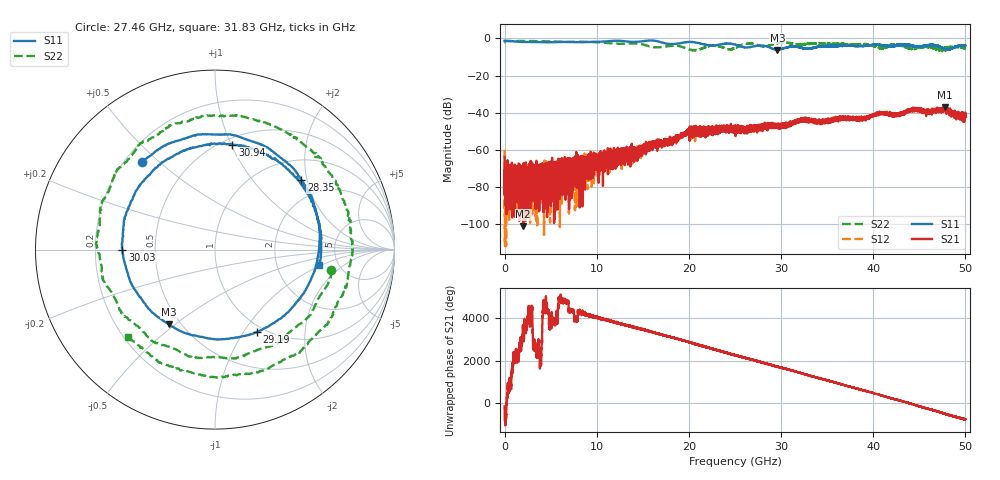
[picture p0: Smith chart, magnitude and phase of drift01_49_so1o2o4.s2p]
!Created with skrf (http://scikit-rf.org).
# Hz S RI R 50.0
!freq ReS11 ImS11 ReS21 ImS21 ReS12 ImS12 ReS22 ImS22
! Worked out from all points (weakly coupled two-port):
!   10001 points, 300 kHz to 50 GHz, reference 50 ohm
!   highest |S21| = -36.82 dB at 47.81 GHz (marker M1); lowest = -101.1 dB at 2.025 GHz (marker M2)
!   lowest |S11| = -6.2 dB at 29.61 GHz (marker M3), VSWR 2.91, Z = 21.7 - j23.7 ohm
!   |S11| at or under -10 dB: nowhere
!   |S22| runs from -7.0 to -1.4 dB; largest |S21 - S12| = 0.0045
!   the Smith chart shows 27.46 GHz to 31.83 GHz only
!   S11 on the Smith chart (normalised r, x): 27.46 GHz: 0.27, +0.44; 28.35 GHz: 1.47, +1.85; 29.19 GHz: 0.92, -1.15; 30.03 GHz: 0.32, -0.00; 30.94 GHz: 0.56, +1.01; 31.83 GHz: 3.58, -0.95
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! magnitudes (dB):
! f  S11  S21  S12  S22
! 300 kHz  -1.3  -63.7  -59.9  -2.1
! 255.3 MHz  -1.4  -75.9  -95.1  -1.4
! 2.025 GHz  -1.9  -101.1  -75.9  -1.4
! 4.96 GHz  -2.1  -79.8  -69.0  -1.6
! 8.335 GHz  -2.0  -64.3  -70.5  -1.8
! 16.67 GHz  -1.7  -56.3  -56.0  -4.8
! 20.95 GHz  -2.5  -49.6  -50.9  -6.2
! 22.6 GHz  -3.9  -48.2  -49.1  -3.8
! 25 GHz  -3.3  -48.1  -49.3  -5.1
! 27.46 GHz  -3.9  -47.6  -48.2  -3.6
! 28.35 GHz  -4.2  -45.9  -47.7  -4.2
! 29.19 GHz  -5.8  -46.6  -46.6  -3.1
! 29.61 GHz  -6.2  -46.6  -46.5  -2.5
! 30.03 GHz  -5.7  -47.3  -47.0  -2.3
! 30.94 GHz  -4.5  -46.0  -46.6  -2.6
! 31.83 GHz  -4.6  -44.4  -44.2  -3.3
! 33.34 GHz  -5.3  -44.7  -44.2  -2.7
! 41.67 GHz  -4.2  -40.7  -40.6  -4.4
! 46.48 GHz  -3.7  -39.5  -39.3  -5.3
! 47.81 GHz  -5.9  -36.8  -39.2  -6.0
! 49.33 GHz  -4.0  -41.1  -42.1  -4.5
! 50 GHz  -3.9  -41.0  -39.6  -5.4
